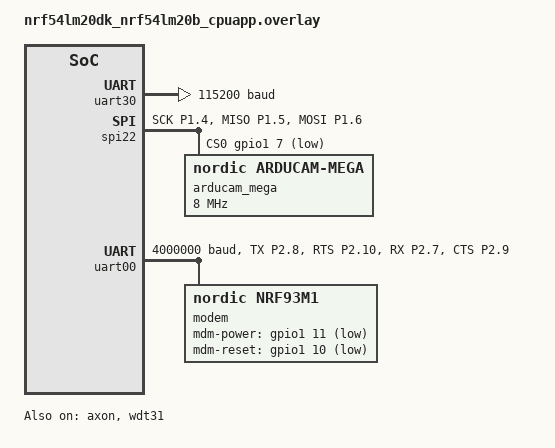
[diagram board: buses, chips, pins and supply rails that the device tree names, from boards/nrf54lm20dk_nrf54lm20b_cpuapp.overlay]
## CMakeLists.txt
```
#
# Copyright (c) 2026 Nordic Semiconductor ASA
#
# SPDX-License-Identifier: LicenseRef-Nordic-5-Clause
#

cmake_minimum_required(VERSION 3.20.0)

find_package(Zephyr REQUIRED HINTS $ENV{ZEPHYR_BASE})
project("Person detection video stream")

set(SMHA_LIB_DIR ${CMAKE_CURRENT_SOURCE_DIR}/../../lib)

zephyr_include_directories(
	${SMHA_LIB_DIR}/include
	${CMAKE_CURRENT_SOURCE_DIR}/src
)

target_sources(app PRIVATE
	src/main.c
	src/modules/network/network.c
)
target_sources_ifdef(CONFIG_SHELL app PRIVATE src/modules/network/network_shell.c)
target_sources_ifdef(CONFIG_APP_NETWORK app PRIVATE src/modules/network/modem_baudrate.c)
target_sources_ifdef(CONFIG_APP_MODEM_AT app PRIVATE src/modules/modem_at/modem_at.c)
target_sources_ifdef(CONFIG_APP_MODEM_AT_SHELL app PRIVATE src/modules/modem_at/modem_at_shell.c)
target_sources_ifdef(CONFIG_APP_STREAM app PRIVATE src/modules/stream/stream.c)
target_sources_ifdef(CONFIG_APP_STREAM_SHELL app PRIVATE src/modules/stream/stream_shell.c)
target_sources_ifdef(CONFIG_APP_CAMERA app PRIVATE src/modules/camera/camera.c)
# Arducam Mega driver from the sdk-edge-ai person_detection application, with a JPEG quality
# control added; video_ctrls.h is private to Zephyr's video drivers.
if(CONFIG_APP_CAMERA)
	target_sources(app PRIVATE src/drivers/arducam_mega.c)
	target_include_directories(app PRIVATE ${ZEPHYR_BASE}/drivers/video)
endif()
target_sources_ifdef(CONFIG_APP_CAMERA_SHELL app PRIVATE src/modules/camera/camera_shell.c)
target_sources_ifdef(CONFIG_APP_DETECTION app PRIVATE src/modules/detection/detection.c)
target_sources_ifdef(CONFIG_APP_DETECTION_SHELL app PRIVATE src/modules/detection/detection_shell.c)

target_sources_ifdef(CONFIG_APP_FRAME_POOL app PRIVATE src/lib/frame_pool/frame_pool.c)

# Model and postprocessing come from the sdk-edge-ai person_detection application.
# Decoder speed bounds the detection rate, so JPEGDEC (built into jpeg.c) is built for speed.
if(CONFIG_APP_DETECTOR)
	set(PERSON_DET_DIR ${ZEPHYR_EDGE_AI_MODULE_DIR}/applications/person_detection/src)
	target_sources(app PRIVATE
		src/lib/detector/detector.c
		src/lib/jpeg/jpeg.c
		${PERSON_DET_DIR}/postprocessing.c
	)
	target_include_directories(app PRIVATE ${PERSON_DET_DIR}
		${CMAKE_CURRENT_SOURCE_DIR}/lib/jpegdec)
	set_source_files_properties(src/lib/jpeg/jpeg.c PROPERTIES
		COMPILE_OPTIONS "-O2;-Wno-unused-function;-Wno-unused-variable;-Wno-unused-but-set-variable;-Wno-pointer-to-int-cast")
endif()
```

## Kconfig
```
#
# Copyright (c) 2026 Nordic Semiconductor ASA
#
# SPDX-License-Identifier: LicenseRef-Nordic-5-Clause
#

menu "Person detection video stream"

rsource "src/Kconfig.main"
rsource "src/modules/network/Kconfig.network"
rsource "src/modules/modem_at/Kconfig.modem_at"
rsource "src/modules/stream/Kconfig.stream"
rsource "src/modules/camera/Kconfig.camera"
rsource "src/modules/detection/Kconfig.detection"
rsource "src/lib/frame_pool/Kconfig.frame_pool"
rsource "src/lib/detector/Kconfig.detector"

endmenu

menu "Zephyr Kernel"
source "Kconfig.zephyr"
endmenu
```

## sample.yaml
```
sample:
  name: Person detection video stream
  description: Camera video with person detection, streamed over UDP on Wi-Fi or on LTE through an nRF93M1.
common:
  build_only: true
  tags:
    - ci_build
tests:
  serial_modem_host.applications.person_detection_stream.wifi:
    integration_platforms:
      - nrf7120dk/nrf7120e/cpuapp
    platform_allow:
      - nrf7120dk/nrf7120e/cpuapp
  serial_modem_host.applications.person_detection_stream.lte.nrf7120dk:
    extra_args:
      - EXTRA_CONF_FILE=overlay-lte-nrf7120dk.conf
      - EXTRA_DTC_OVERLAY_FILE=overlay-lte-nrf7120dk.overlay
    integration_platforms:
      - nrf7120dk/nrf7120e/cpuapp
    platform_allow:
      - nrf7120dk/nrf7120e/cpuapp
  serial_modem_host.applications.person_detection_stream.nrf54lm20dk:
    integration_platforms:
      - nrf54lm20dk/nrf54lm20b/cpuapp
    platform_allow:
      - nrf54lm20dk/nrf54lm20b/cpuapp
```

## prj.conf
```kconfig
#
# Copyright (c) 2026 Nordic Semiconductor ASA
#
# SPDX-License-Identifier: LicenseRef-Nordic-5-Clause
#

# Application identity
CONFIG_NCS_APPLICATION_BOOT_BANNER_STRING="Person detection video stream"

# Application modules; LTE over the nRF93M1 comes from the LM20 board files or
# overlay-lte-nrf7120dk.conf
CONFIG_APP_NETWORK=y
CONFIG_APP_STREAM=y

# System / RTOS
CONFIG_NCS_SAMPLES_DEFAULTS=y
CONFIG_RESET_ON_FATAL_ERROR=n
CONFIG_MAIN_STACK_SIZE=4096
CONFIG_SYSTEM_WORKQUEUE_STACK_SIZE=4096
CONFIG_ZBUS=y
CONFIG_ZBUS_MSG_SUBSCRIBER=y
CONFIG_ZBUS_MSG_SUBSCRIBER_NET_BUF_POOL_SIZE=32
# Name channels and observers so a delivery failure says which ones were involved.
CONFIG_ZBUS_CHANNEL_NAME=y
CONFIG_ZBUS_OBSERVER_NAME=y
CONFIG_SMF=y
CONFIG_SMF_ANCESTOR_SUPPORT=y
CONFIG_SMF_INITIAL_TRANSITION=y
CONFIG_HEAP_MEM_POOL_SIZE=8192

# Watchdog
CONFIG_TASK_WDT=y
CONFIG_WATCHDOG=y
CONFIG_TASK_WDT_MIN_TIMEOUT=10000
# One channel per module thread: main, network, stream and the two camera threads, plus headroom.
CONFIG_TASK_WDT_CHANNELS=8

# Logging
CONFIG_LOG=y
CONFIG_LOG_MODE_DEFERRED=y
CONFIG_LOG_BUFFER_SIZE=4096

# Settings: the stream endpoint survives reboots
CONFIG_FLASH=y
CONFIG_FLASH_MAP=y
CONFIG_NVS=y
CONFIG_SETTINGS=y
CONFIG_SETTINGS_NVS=y

# Shell
CONFIG_SHELL=y
CONFIG_SHELL_STACK_SIZE=4096
CONFIG_SHELL_WILDCARD=n

# Networking: IPv4/UDP sockets for the video stream
CONFIG_NETWORKING=y
CONFIG_NET_NATIVE=y
CONFIG_NET_IPV4=y
CONFIG_NET_IPV6=n
CONFIG_NET_UDP=y
CONFIG_NET_TCP=n
CONFIG_NET_SOCKETS=y
# The DNS resolver holds one context per server (static + network-provided) for its lifetime.
CONFIG_NET_MAX_CONN=10
CONFIG_NET_MAX_CONTEXTS=10
CONFIG_ZVFS_POLL_MAX=12
CONFIG_NET_MGMT=y
CONFIG_NET_MGMT_EVENT=y
CONFIG_NET_CONNECTION_MANAGER=y
CONFIG_NET_CONNECTION_MANAGER_MONITOR_STACK_SIZE=512
CONFIG_NET_MGMT_EVENT_STACK_SIZE=800
CONFIG_NET_SHELL=y

# Network buffers: room for several MTU-sized datagrams queued towards the link
CONFIG_NET_PKT_RX_COUNT=8
CONFIG_NET_PKT_TX_COUNT=16
CONFIG_NET_BUF_RX_COUNT=16
CONFIG_NET_BUF_TX_COUNT=48

# DNS
CONFIG_DNS_RESOLVER=y
CONFIG_NET_SOCKETS_DNS_TIMEOUT=10000
CONFIG_DNS_RESOLVER_MAX_SERVERS=4
CONFIG_DNS_SERVER_IP_ADDRESSES=y
CONFIG_DNS_SERVER1="8.8.8.8"
CONFIG_DNS_SERVER2="1.1.1.1"

# Board peripherals
CONFIG_GPIO=y

# Power management
CONFIG_PM_DEVICE=y
CONFIG_PM_DEVICE_RUNTIME=y
CONFIG_PM_DEVICE_RUNTIME_USE_DEDICATED_WQ=y
```

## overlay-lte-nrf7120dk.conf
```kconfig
#
# Copyright (c) 2026 Nordic Semiconductor ASA
#
# SPDX-License-Identifier: LicenseRef-Nordic-5-Clause
#

# LTE over an nRF93M1 in modem bypass, through CMUX and PPP, next to Wi-Fi. Use with
# overlay-lte-nrf7120dk.overlay.

CONFIG_APP_MODEM_AT=y
CONFIG_APP_MODEM_AT_LOG_LEVEL_ERR=y

CONFIG_NET_L2_PPP=y
CONFIG_NET_L2_PPP_OPTION_DNS_USE=y

# Cellular modem driver
CONFIG_MODEM=y
CONFIG_MODEM_CELLULAR=y
CONFIG_MODEM_DEDICATED_WORKQUEUE=y
CONFIG_MODEM_CMUX_MTU=127
CONFIG_MODEM_CMUX_WORK_BUFFER_SIZE_EXTRA=532
CONFIG_MODEM_CELLULAR_UART_BUFFER_SIZES=1024
CONFIG_MODEM_AT_SHELL=n
CONFIG_MODEM_AT_USER_PIPE_IDX=0
CONFIG_MODEM_CELLULAR_USER_PIPE_BUFFER_SIZES=1024
CONFIG_MODEM_MODULES_LOG_LEVEL_INF=y
CONFIG_MODEM_CMUX_LOG_LEVEL_INF=y

# Async UART with hardware flow control towards the modem
CONFIG_UART_ASYNC_API=y
CONFIG_MODEM_BACKEND_UART_ASYNC_HWFC=y
CONFIG_MODEM_BACKEND_UART_ASYNC_RECEIVE_IDLE_TIMEOUT_MS=1
CONFIG_MODEM_CMUX_MSC_FC_THRESHOLD=32

# UARTE00 at 3 Mbaud

CONFIG_UART_00_ASYNC=y
CONFIG_UART_00_INTERRUPT_DRIVEN=n
CONFIG_APP_NETWORK_MODEM_BAUDRATE=3000000
```

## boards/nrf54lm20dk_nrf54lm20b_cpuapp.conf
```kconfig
#
# Copyright (c) 2026 Nordic Semiconductor ASA
#
# SPDX-License-Identifier: LicenseRef-Nordic-5-Clause
#

# Interrupt-driven UART for the shell on uart30
CONFIG_UART_INTERRUPT_DRIVEN=y
CONFIG_UART_30_INTERRUPT_DRIVEN=y

# Person detection on the Axon NPU
CONFIG_NRF_AXON=y
CONFIG_NRF_AXON_INTERLAYER_BUFFER_SIZE=229376
CONFIG_FPU=y

# Fixed-size net bufs; room for several MTU-sized datagrams queued towards the link
CONFIG_NET_BUF_DATA_SIZE=256

# LTE over an nRF93M1 in modem bypass, through CMUX and PPP, on UARTE00 at 3 Mbaud
CONFIG_APP_MODEM_AT=y
CONFIG_APP_MODEM_AT_LOG_LEVEL_ERR=y

CONFIG_NET_L2_PPP=y
CONFIG_NET_L2_PPP_OPTION_DNS_USE=y

# Cellular modem driver
CONFIG_MODEM=y
CONFIG_MODEM_CELLULAR=y
CONFIG_MODEM_DEDICATED_WORKQUEUE=y
CONFIG_MODEM_CMUX_MTU=127
CONFIG_MODEM_CMUX_WORK_BUFFER_SIZE_EXTRA=532
CONFIG_MODEM_CELLULAR_UART_BUFFER_SIZES=1024
CONFIG_MODEM_AT_SHELL=n
CONFIG_MODEM_AT_USER_PIPE_IDX=0
CONFIG_MODEM_CELLULAR_USER_PIPE_BUFFER_SIZES=1024
CONFIG_MODEM_MODULES_LOG_LEVEL_INF=y
CONFIG_MODEM_CMUX_LOG_LEVEL_INF=y

# Async UART with hardware flow control towards the modem
CONFIG_UART_ASYNC_API=y
CONFIG_MODEM_BACKEND_UART_ASYNC_HWFC=y
CONFIG_MODEM_BACKEND_UART_ASYNC_RECEIVE_IDLE_TIMEOUT_MS=1
CONFIG_MODEM_CMUX_MSC_FC_THRESHOLD=32

CONFIG_UART_00_ASYNC=y
CONFIG_UART_00_INTERRUPT_DRIVEN=n
CONFIG_APP_NETWORK_MODEM_BAUDRATE=3000000
```

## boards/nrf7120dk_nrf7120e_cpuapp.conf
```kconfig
#
# Copyright (c) 2026 Nordic Semiconductor ASA
#
# SPDX-License-Identifier: LicenseRef-Nordic-5-Clause
#

# Interrupt-driven UART for the shell on uart20
CONFIG_UART_INTERRUPT_DRIVEN=y
CONFIG_UART_20_INTERRUPT_DRIVEN=y

# Person detection on the Axon NPU
CONFIG_NRF_AXON=y
CONFIG_NRF_AXON_INTERLAYER_BUFFER_SIZE=229376
CONFIG_NRF_AXON_INTERLAYER_BUFFER_MEMREGION_NAME="AXON_SRAM"
CONFIG_FPU=y

# Wi-Fi station; overlay-lte-nrf7120dk adds the PPP link next to it, either one streams alone.
CONFIG_WIFI=y
CONFIG_WIFI_NRF71_PATCH=y
CONFIG_WIFI_NM_WPA_SUPPLICANT=y
CONFIG_NET_L2_ETHERNET=y
CONFIG_NET_DHCPV4=y
CONFIG_NET_L2_WIFI_SHELL=y
CONFIG_SHELL_GETOPT=y
CONFIG_ENTROPY_GENERATOR=y

# Connect on boot to networks stored with "wifi cred add"
CONFIG_WIFI_CREDENTIALS=y
CONFIG_L2_WIFI_CONNECTIVITY=y
CONFIG_L2_WIFI_CONNECTIVITY_AUTO_CONNECT=y
CONFIG_L2_WIFI_CONNECTIVITY_AUTO_DOWN=n

# The supplicant runs in these threads' event callbacks.
CONFIG_NET_MGMT_EVENT_STACK_SIZE=4200
CONFIG_NET_MGMT_EVENT_QUEUE_SIZE=16
CONFIG_NET_CONNECTION_MANAGER_MONITOR_STACK_SIZE=4096
CONFIG_SHELL_STACK_SIZE=5400
# Wi-Fi disconnect runs the supplicant in the calling network thread.
CONFIG_APP_NETWORK_THREAD_STACK_SIZE=6144

# Wi-Fi needs variable-size net bufs; same TX room as the fixed pool on the LM20
CONFIG_NET_PKT_BUF_TX_DATA_POOL_SIZE=16384
CONFIG_NET_PKT_BUF_RX_DATA_POOL_SIZE=8192

# One IPv4 config per interface: Wi-Fi and PPP
CONFIG_NET_IF_MAX_IPV4_COUNT=2

# High camera profile for Wi-Fi; LTE keeps the 320x240 default
CONFIG_APP_CAMERA_HIGH_WIDTH=640
CONFIG_APP_CAMERA_HIGH_HEIGHT=480
CONFIG_APP_CAMERA_HIGH_JPEG_QUALITY=2
CONFIG_APP_CAMERA_BUFFER_SIZE=49152
CONFIG_VIDEO_BUFFER_POOL_HEAP_SIZE=148480
CONFIG_APP_DETECTION_SLOT_SIZE=49152
```

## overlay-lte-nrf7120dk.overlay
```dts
/*
 * Copyright (c) 2026 Nordic Semiconductor ASA
 *
 * SPDX-License-Identifier: LicenseRef-Nordic-5-Clause
 *
 * nRF7120 DK driving an nRF93M1 DK in modem bypass mode over UARTE00 at 3 Mbaud, next
 * to Wi-Fi. Build with
 *   -DEXTRA_CONF_FILE=overlay-lte-nrf7120dk.conf
 *   -DEXTRA_DTC_OVERLAY_FILE=overlay-lte-nrf7120dk.overlay
 * and set the modem first with AT+IPR=3000000, which it keeps in NVM. The DK runs at
 * 1.8 V like the modem, so the lines connect directly.
 *
 * UARTE00 runs from the 256 MHz HFPLL and only reaches dedicated pins on P2. The DK
 * shares P2.06-P2.11 with its external memory; route them to the P2 header in Board
 * Configurator.
 *
 *   93M1 DK          7120 DK
 *   TX         ->    P2.10  UARTE00 RX
 *   RX         <-    P2.07  UARTE00 TX
 *   RTS        ->    P2.08  UARTE00 CTS
 *   CTS        <-    P2.11  UARTE00 RTS
 *   PKEY       <-    P0.10  (P0.05 is the DK's RF switch control)
 *   RST        <-    P0.06
 */

/* UARTE00 shares its instance with SPIM00, which drives the DK's external flash (unused). */
&spi00 {
	status = "disabled";
};

/ {
	aliases {
		modem = &modem;
	};
};

&pinctrl {
	uart00_modem_default: uart00_modem_default {
		group1 {
			psels = <NRF_PSEL(UART_TX, 2, 7)>,
				<NRF_PSEL(UART_RTS, 2, 11)>;
		};

		group2 {
			psels = <NRF_PSEL(UART_RX, 2, 10)>,
				<NRF_PSEL(UART_CTS, 2, 8)>;
			bias-pull-up;
		};
	};

	uart00_modem_sleep: uart00_modem_sleep {
		group1 {
			psels = <NRF_PSEL(UART_TX, 2, 7)>,
				<NRF_PSEL(UART_RX, 2, 10)>,
				<NRF_PSEL(UART_RTS, 2, 11)>,
				<NRF_PSEL(UART_CTS, 2, 8)>;
			low-power-enable;
		};
	};
};

/* The binding has no 3000000; CONFIG_APP_NETWORK_MODEM_BAUDRATE sets it at boot. */
&uart00 {
	status = "okay";
	current-speed = <4000000>;
	pinctrl-0 = <&uart00_modem_default>;
	pinctrl-1 = <&uart00_modem_sleep>;
	pinctrl-names = "default", "sleep";
	hw-flow-control;
	zephyr,pm-device-runtime-auto;

	modem: modem {
		compatible = "nordic,nrf93m1";
		status = "okay";
		mdm-power-gpios = <&gpio0 10 GPIO_ACTIVE_LOW>;
		mdm-reset-gpios = <&gpio0 6 GPIO_ACTIVE_LOW>;
		zephyr,pm-device-runtime-auto;
	};
};
```

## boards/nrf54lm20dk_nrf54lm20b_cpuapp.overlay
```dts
/*
 * Copyright (c) 2026 Nordic Semiconductor ASA
 *
 * SPDX-License-Identifier: LicenseRef-Nordic-5-Clause
 *
 * nRF54LM20 DK driving an nRF93M1 DK in modem bypass mode over UARTE00 at 3 Mbaud,
 * with an Arducam Mega on SPI22 (SCK P1.04, MISO P1.05, MOSI P1.06, CS P1.07).
 * Console and shell stay on VCOM0.
 *
 * Set the modem to AT+IPR=3000000 first; it keeps the rate in NVM. Flash the 93M1 DK
 * with modem bypass and disable its VCOM1 in Board Configurator, so nothing else drives
 * the modem UART. The DK's IO runs at 1.8 V to match the modem; the camera needs
 * 3.3 V and goes through a level shifter.
 *
 * UARTE00 runs from the 128 MHz HFPLL; UARTE21 tops out at 1 Mbaud. Its signals only
 * reach dedicated pins: RXD P2.00/P2.07, TXD P2.02/P2.08, CTS P2.04/P2.09,
 * RTS P2.05/P2.10. P2.00-P2.05 belong to the DK's flash.
 *
 *   93M1 DK          54LM20 DK
 *   TX         ->    P2.07  UARTE00 RX
 *   RX         <-    P2.08  UARTE00 TX
 *   RTS        ->    P2.09  UARTE00 CTS
 *   CTS        <-    P2.10  UARTE00 RTS
 *   PKEY       <-    P1.11
 *   RST        <-    P1.10
 *   GND        --    GND
 */

/ {
	chosen {
		zephyr,console = &uart30;
		zephyr,shell-uart = &uart30;
	};
};

&uart30 {
	status = "okay";
	current-speed = <115200>;
};

&pinctrl {
	spi22_default: spi22_default {
		group1 {
			psels = <NRF_PSEL(SPIM_SCK, 1, 4)>,
				<NRF_PSEL(SPIM_MISO, 1, 5)>,
				<NRF_PSEL(SPIM_MOSI, 1, 6)>;
			bias-pull-down;
		};
	};

	spi22_sleep: spi22_sleep {
		group1 {
			psels = <NRF_PSEL(SPIM_SCK, 1, 4)>,
				<NRF_PSEL(SPIM_MISO, 1, 5)>,
				<NRF_PSEL(SPIM_MOSI, 1, 6)>;
			bias-pull-down;
			low-power-enable;
		};
	};

};

&gpio1 {
	status = "okay";
};

&spi22 {
	compatible = "nordic,nrf-spim";
	status = "okay";
	pinctrl-0 = <&spi22_default>;
	pinctrl-1 = <&spi22_sleep>;
	pinctrl-names = "default", "sleep";
	overrun-character = <0x00>;
	zephyr,pm-device-runtime-auto;
	cs-gpios = <&gpio1 7 GPIO_ACTIVE_LOW>;

	arducam_mega: arducam-mega@0 {
		compatible = "nordic,arducam-mega";
		reg = <0>;
		spi-max-frequency = <8000000>;
	};
};

/* Axon NPU for person detection; its buffers need the SRAM TF-M would take. */
&axon {
	status = "okay";
};

&wdt31 {
	status = "okay";
};

/* UARTE00 shares its instance with SPIM00, which drives the DK's external flash (unused). */
&spi00 {
	status = "disabled";
};

/ {
	aliases {
		modem = &modem;
	};
};

&pinctrl {
	uart00_modem_default: uart00_modem_default {
		group1 {
			psels = <NRF_PSEL(UART_TX, 2, 8)>,
				<NRF_PSEL(UART_RTS, 2, 10)>;
		};

		group2 {
			psels = <NRF_PSEL(UART_RX, 2, 7)>,
				<NRF_PSEL(UART_CTS, 2, 9)>;
			bias-pull-up;
		};
	};

	uart00_modem_sleep: uart00_modem_sleep {
		group1 {
			psels = <NRF_PSEL(UART_TX, 2, 8)>,
				<NRF_PSEL(UART_RX, 2, 7)>,
				<NRF_PSEL(UART_RTS, 2, 10)>,
				<NRF_PSEL(UART_CTS, 2, 9)>;
			low-power-enable;
		};
	};
};

/* The binding has no 3000000; CONFIG_APP_NETWORK_MODEM_BAUDRATE sets it at boot. */
&uart00 {
	status = "okay";
	current-speed = <4000000>;
	pinctrl-0 = <&uart00_modem_default>;
	pinctrl-1 = <&uart00_modem_sleep>;
	pinctrl-names = "default", "sleep";
	hw-flow-control;
	zephyr,pm-device-runtime-auto;

	modem: modem {
		compatible = "nordic,nrf93m1";
		status = "okay";
		/* The module's own active-low pins, driven through a one-way level shifter. */
		mdm-power-gpios = <&gpio1 11 GPIO_ACTIVE_LOW>;
		mdm-reset-gpios = <&gpio1 10 GPIO_ACTIVE_LOW>;
		zephyr,pm-device-runtime-auto;
	};
};
```

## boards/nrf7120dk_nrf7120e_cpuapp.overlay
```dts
/*
 * Copyright (c) 2026 Nordic Semiconductor ASA
 *
 * SPDX-License-Identifier: LicenseRef-Nordic-5-Clause
 *
 * nRF7120 DK (nRF7120E) streaming over Wi-Fi, with an Arducam Mega on SPIM24 through
 * level shifters (the DK runs at 1.8 V, the camera at 3.3 V). The nRF93M1 modem comes
 * from overlay-lte-nrf7120dk.overlay.
 *
 *   Arducam Mega     7120 DK
 *   SCK        <-    P1.12  SPIM24
 *   MISO       ->    P1.13
 *   MOSI       <-    P1.14
 *   CS         <-    P1.15
 *
 * Console and shell stay on VCOM0 (UARTE20).
 */

/* Wi-Fi ROM patch matching CONFIG_WIFI_NRF71_PATCH_VERSION_0_1_0 */
#include "../../../../nrfxlib/nrf71_wifi/bins/0.1.0/nrf7120_wifi_patch.dtsi"

/ {
	chosen {
		zephyr,entropy = &psa_rng;
	};

	psa_rng: psa-rng {
		compatible = "zephyr,psa-crypto-rng";
		status = "okay";
	};
};

&pinctrl {
	spi24_default: spi24_default {
		group1 {
			psels = <NRF_PSEL(SPIM_SCK, 1, 12)>,
				<NRF_PSEL(SPIM_MISO, 1, 13)>,
				<NRF_PSEL(SPIM_MOSI, 1, 14)>;
			bias-pull-down;
		};
	};

	spi24_sleep: spi24_sleep {
		group1 {
			psels = <NRF_PSEL(SPIM_SCK, 1, 12)>,
				<NRF_PSEL(SPIM_MISO, 1, 13)>,
				<NRF_PSEL(SPIM_MOSI, 1, 14)>;
			bias-pull-down;
			low-power-enable;
		};
	};
};

&spi24 {
	compatible = "nordic,nrf-spim";
	status = "okay";
	pinctrl-0 = <&spi24_default>;
	pinctrl-1 = <&spi24_sleep>;
	pinctrl-names = "default", "sleep";
	overrun-character = <0x00>;
	zephyr,pm-device-runtime-auto;
	cs-gpios = <&gpio1 15 GPIO_ACTIVE_LOW>;

	arducam_mega: arducam-mega@0 {
		compatible = "nordic,arducam-mega";
		reg = <0>;
		spi-max-frequency = <8000000>;
	};
};

/*
 * The Wi-Fi core's IPC buffers sit at 0x200c0000-0x200c5000 inside cpuapp_sram, which
 * the board does not keep out of the image; past 768 KiB the main stack landed there.
 * Link below them and give the SRAM above them to the Axon interlayer buffer
 * (CONFIG_NRF_AXON_INTERLAYER_BUFFER_MEMREGION_NAME).
 */
/ {
	chosen {
		zephyr,sram = &app_sram;
	};
};

&cpuapp_sram {
	app_sram: sram@0 {
		compatible = "mmio-sram";
		reg = <0x0 DT_SIZE_K(768)>;
	};

	axon_sram: sram@c5000 {
		compatible = "zephyr,memory-region", "mmio-sram";
		reg = <0xc5000 0x38fe0>;
		zephyr,memory-region = "AXON_SRAM";
	};
};

&axon {
	status = "okay";
};

&wdt31 {
	status = "okay";
};
```

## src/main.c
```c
/*
 * Copyright (c) 2026 Nordic Semiconductor ASA
 *
 * SPDX-License-Identifier: LicenseRef-Nordic-5-Clause
 */

#include <zephyr/kernel.h>
#include <zephyr/logging/log.h>
#include <zephyr/smf.h>
#include <zephyr/task_wdt/task_wdt.h>
#include <zephyr/zbus/zbus.h>

#include "app_common.h"
#include "modules/network/network.h"
#include "modules/stream/stream.h"
#if defined(CONFIG_APP_CAMERA)
#include "modules/camera/camera.h"
#endif

LOG_MODULE_REGISTER(main, CONFIG_APP_MAIN_LOG_LEVEL);

BUILD_ASSERT(CONFIG_APP_MAIN_WATCHDOG_TIMEOUT_SECONDS >
	     CONFIG_APP_MAIN_MSG_PROCESSING_TIMEOUT_SECONDS,
	     "Watchdog timeout must be greater than maximum message processing time");

/* Published by the switch timer; the id drops a timeout from an earlier switch. */
struct switch_timeout_msg {
	uint32_t id;
};

ZBUS_CHAN_DEFINE(switch_timeout_chan,
		 struct switch_timeout_msg,
		 NULL,
		 NULL,
		 ZBUS_OBSERVERS_EMPTY,
		 ZBUS_MSG_INIT(0));

ZBUS_MSG_SUBSCRIBER_DEFINE(main_subscriber);

#define CHANNEL_LIST(X) \
	X(network_chan, struct network_msg) \
	X(switch_timeout_chan, struct switch_timeout_msg)

#define MAX_MSG_SIZE MAX_MSG_SIZE_FROM_LIST(CHANNEL_LIST)

#define ADD_OBSERVERS(_chan, _type) ZBUS_CHAN_ADD_OBS(_chan, main_subscriber, 0);

CHANNEL_LIST(ADD_OBSERVERS)

enum main_app_state {
	/** Handles interface choice requests and status in every child state. */
	STATE_RUNNING,
	/** No usable interface. The stream is told to close its socket. */
	STATE_OFFLINE,
	/** The stream runs over @ref main_state.active. */
	STATE_ONLINE,
	/** Waiting for @ref main_state.target; the stream stays on the current interface. */
	STATE_SWITCHING,
};

struct main_state {
	struct smf_ctx ctx;
	const struct zbus_channel *chan;
	uint8_t msg_buf[MAX_MSG_SIZE];

	/** Requested interface; NETWORK_IFACE_NONE chooses automatically. */
	enum network_iface mode;
	/** Mode to fall back to when a switch times out. */
	enum network_iface prev_mode;
	/** BIT(enum network_iface) per interface that is up. */
	uint32_t up;
	/** Interface carrying the stream, or NETWORK_IFACE_NONE. */
	enum network_iface active;
	/** STATE_SWITCHING only: the interface being brought up. */
	enum network_iface target;
	uint32_t switch_id;
};

static struct main_state main_state;

static void switch_timeout_work_fn(struct k_work *work);
static K_WORK_DELAYABLE_DEFINE(switch_timeout_work, switch_timeout_work_fn);

static enum smf_state_result state_running_run(void *obj);
static void state_offline_entry(void *obj);
static enum smf_state_result state_offline_run(void *obj);
static void state_online_entry(void *obj);
static enum smf_state_result state_online_run(void *obj);
static void state_switching_entry(void *obj);
static enum smf_state_result state_switching_run(void *obj);
static void state_switching_exit(void *obj);

static const struct smf_state states[] = {
	[STATE_RUNNING] = SMF_CREATE_STATE(NULL, state_running_run, NULL, NULL,
					   &states[STATE_OFFLINE]),
	[STATE_OFFLINE] = SMF_CREATE_STATE(state_offline_entry, state_offline_run, NULL,
					   &states[STATE_RUNNING], NULL),
	[STATE_ONLINE] = SMF_CREATE_STATE(state_online_entry, state_online_run, NULL,
					  &states[STATE_RUNNING], NULL),
	[STATE_SWITCHING] = SMF_CREATE_STATE(state_switching_entry, state_switching_run,
					     state_switching_exit, &states[STATE_RUNNING], NULL),
};

static void switch_timeout_work_fn(struct k_work *work)
{
	struct switch_timeout_msg msg = { .id = main_state.switch_id };

	ARG_UNUSED(work);

	(void)zbus_chan_pub(&switch_timeout_chan, &msg, PUB_TIMEOUT);
}

static void stream_request(enum stream_msg_type type, enum network_iface iface)
{
	struct stream_msg msg = { .type = type };
	struct net_if *net_if = network_iface_get(iface);
	int err;

	if (net_if != NULL) {
		msg.iface = net_if_get_by_iface(net_if);
	}

	err = zbus_chan_pub(&stream_chan, &msg, PUB_TIMEOUT);
	if (err) {
		LOG_ERR("zbus_chan_pub stream_chan, error: %d", err);
		FATAL_ERROR();
	}
}

/* Wi-Fi has room for larger frames than the LTE-M uplink. */
static void camera_hint(enum network_iface iface)
{
#if defined(CONFIG_APP_CAMERA)
	struct camera_msg msg = {
		.type = CAMERA_PROFILE_HINT,
		.profile = iface == NETWORK_IFACE_WIFI ? CAMERA_PROFILE_HIGH : CAMERA_PROFILE_LOW,
	};
	int err;

	err = zbus_chan_pub(&camera_chan, &msg, PUB_TIMEOUT);
	if (err) {
		LOG_ERR("zbus_chan_pub camera_chan, error: %d", err);
		FATAL_ERROR();
	}
#else
	ARG_UNUSED(iface);
#endif
}

static void network_request(enum network_msg_type type, enum network_iface iface)
{
	struct network_msg msg = { .type = type, .iface = iface };
	int err;

	err = zbus_chan_pub(&network_chan, &msg, PUB_TIMEOUT);
	if (err) {
		LOG_ERR("zbus_chan_pub network_chan, error: %d", err);
		FATAL_ERROR();
	}
}

static bool is_up(const struct main_state *s, enum network_iface iface)
{
	return (s->up & BIT(iface)) != 0;
}

static enum network_iface other_iface(enum network_iface iface)
{
	return iface == NETWORK_IFACE_WIFI ? NETWORK_IFACE_LTE : NETWORK_IFACE_WIFI;
}

/* An interface the mode allows that is up, Wi-Fi first. */
static enum network_iface choose(const struct main_state *s)
{
	if (s->mode != NETWORK_IFACE_NONE) {
		return is_up(s, s->mode) ? s->mode : NETWORK_IFACE_NONE;
	}

	if (is_up(s, NETWORK_IFACE_WIFI)) {
		return NETWORK_IFACE_WIFI;
	}

	return is_up(s, NETWORK_IFACE_LTE) ? NETWORK_IFACE_LTE : NETWORK_IFACE_NONE;
}

static const struct network_msg *network_msg_get(const struct main_state *s)
{
	return s->chan == &network_chan ? (const struct network_msg *)s->msg_buf : NULL;
}

static void go_online(struct main_state *s, enum network_iface iface)
{
	s->active = iface;
	smf_set_state(SMF_CTX(s), &states[STATE_ONLINE]);
}

static void online_apply(struct main_state *s)
{
	LOG_INF("Streaming over %s", network_iface_name(s->active));
	camera_hint(s->active);
	stream_request(STREAM_CONNECT, s->active);

	/* Auto mode keeps Wi-Fi trying while on LTE, but cellular goes down under Wi-Fi. */
	if ((s->mode != NETWORK_IFACE_NONE || s->active == NETWORK_IFACE_WIFI) &&
	    network_iface_get(other_iface(s->active)) != NULL) {
		network_request(NETWORK_IFACE_DISCONNECT, other_iface(s->active));
	}
}

static void status_log(const struct main_state *s)
{
	LOG_INF("Mode %s, streaming over %s; wifi %s, lte %s",
		s->mode == NETWORK_IFACE_NONE ? "auto" : network_iface_name(s->mode),
		network_iface_name(s->active),
		is_up(s, NETWORK_IFACE_WIFI) ? "up" : "down",
		is_up(s, NETWORK_IFACE_LTE) ? "up" : "down");
}

static void use_request(struct main_state *s, enum network_iface target)
{
	if (target != NETWORK_IFACE_NONE && network_iface_get(target) == NULL) {
		LOG_WRN("No %s interface on this board", network_iface_name(target));
		return;
	}

	s->prev_mode = s->mode;
	s->mode = target;

	if (target == NETWORK_IFACE_NONE) {
		LOG_INF("Choosing the interface automatically");

		/* Reconnecting Wi-Fi drops its association, so only connect what is down. */
		for (enum network_iface i = NETWORK_IFACE_WIFI; i < NETWORK_IFACE_COUNT; i++) {
			if (network_iface_get(i) != NULL && !is_up(s, i)) {
				network_request(NETWORK_IFACE_CONNECT, i);
			}
		}

		if (choose(s) != NETWORK_IFACE_NONE && choose(s) != s->active) {
			go_online(s, choose(s));
		}
		return;
	}

	if (is_up(s, target)) {
		go_online(s, target);
	} else if (s->active == NETWORK_IFACE_NONE) {
		smf_set_state(SMF_CTX(s), &states[STATE_OFFLINE]);
	} else {
		s->target = target;
		smf_set_state(SMF_CTX(s), &states[STATE_SWITCHING]);
	}
}

static enum smf_state_result state_running_run(void *obj)
{
	struct main_state *s = obj;
	const struct network_msg *msg = network_msg_get(s);

	if (msg == NULL) {
		return SMF_EVENT_HANDLED;
	}

	switch (msg->type) {
	case NETWORK_USE:
		use_request(s, msg->iface);
		break;
	case NETWORK_STATUS:
		status_log(s);
		break;
	default:
		break;
	}

	return SMF_EVENT_HANDLED;
}

static void state_offline_entry(void *obj)
{
	struct main_state *s = obj;

	LOG_INF("Network disconnected");

	s->active = NETWORK_IFACE_NONE;
	stream_request(STREAM_DISCONNECT, NETWORK_IFACE_NONE);

	/* In auto mode LTE may have been taken down under Wi-Fi; it is the fallback now. */
	const enum network_iface fallback =
		s->mode == NETWORK_IFACE_NONE ? NETWORK_IFACE_LTE : s->mode;

	if (network_iface_get(fallback) != NULL) {
		network_request(NETWORK_IFACE_CONNECT, fallback);
	}
}

static enum smf_state_result state_offline_run(void *obj)
{
	struct main_state *s = obj;
	const struct network_msg *msg = network_msg_get(s);

	if (msg != NULL && msg->type == NETWORK_IFACE_UP && choose(s) != NETWORK_IFACE_NONE) {
		go_online(s, choose(s));
		return SMF_EVENT_HANDLED;
	}

	return SMF_EVENT_PROPAGATE;
}

static void state_online_entry(void *obj)
{
	LOG_INF("Network connected");

	online_apply(obj);
}

static enum smf_state_result state_online_run(void *obj)
{
	struct main_state *s = obj;
	const struct network_msg *msg = network_msg_get(s);

	if (msg == NULL) {
		return SMF_EVENT_PROPAGATE;
	}

	if (msg->type == NETWORK_IFACE_DOWN && msg->iface == s->active) {
		if (choose(s) != NETWORK_IFACE_NONE) {
			s->active = choose(s);
			online_apply(s);
		} else {
			smf_set_state(SMF_CTX(s), &states[STATE_OFFLINE]);
		}
		return SMF_EVENT_HANDLED;
	}

	if (msg->type == NETWORK_IFACE_UP && s->mode == NETWORK_IFACE_NONE &&
	    msg->iface == NETWORK_IFACE_WIFI && s->active != NETWORK_IFACE_WIFI) {
		s->active = NETWORK_IFACE_WIFI;
		online_apply(s);
		return SMF_EVENT_HANDLED;
	}

	return SMF_EVENT_PROPAGATE;
}

static void state_switching_entry(void *obj)
{
	struct main_state *s = obj;

	LOG_INF("Switching to %s, streaming over %s until it is up",
		network_iface_name(s->target), network_iface_name(s->active));

	s->switch_id++;
	network_request(NETWORK_IFACE_CONNECT, s->target);
	(void)k_work_reschedule(&switch_timeout_work,
				K_SECONDS(CONFIG_APP_MAIN_SWITCH_TIMEOUT_SECONDS));
}

static enum smf_state_result state_switching_run(void *obj)
{
	struct main_state *s = obj;
	const struct network_msg *msg = network_msg_get(s);

	if (s->chan == &switch_timeout_chan) {
		const struct switch_timeout_msg *timeout =
			(const struct switch_timeout_msg *)s->msg_buf;

		if (timeout->id != s->switch_id) {
			return SMF_EVENT_HANDLED;
		}

		LOG_WRN("%s did not come up within %d s, staying on %s",
			network_iface_name(s->target), CONFIG_APP_MAIN_SWITCH_TIMEOUT_SECONDS,
			network_iface_name(s->active));
		s->mode = s->prev_mode;

		if (s->active != NETWORK_IFACE_NONE) {
			go_online(s, s->active);
		} else {
			smf_set_state(SMF_CTX(s), &states[STATE_OFFLINE]);
		}
		return SMF_EVENT_HANDLED;
	}

	if (msg == NULL) {
		return SMF_EVENT_PROPAGATE;
	}

	if (msg->type == NETWORK_IFACE_UP && msg->iface == s->target) {
		go_online(s, s->target);
		return SMF_EVENT_HANDLED;
	}

	if (msg->type == NETWORK_IFACE_DOWN && msg->iface == s->active) {
		LOG_INF("%s went down while switching", network_iface_name(s->active));
		s->active = NETWORK_IFACE_NONE;
		stream_request(STREAM_DISCONNECT, NETWORK_IFACE_NONE);
		return SMF_EVENT_HANDLED;
	}

	return SMF_EVENT_PROPAGATE;
}

static void state_switching_exit(void *obj)
{
	ARG_UNUSED(obj);

	(void)k_work_cancel_delayable(&switch_timeout_work);
}

/* Kept outside the state machine so every state sees the same interface view. */
static void up_track(struct main_state *s)
{
	const struct network_msg *msg = network_msg_get(s);

	if (msg == NULL || msg->iface == NETWORK_IFACE_NONE) {
		return;
	}

	if (msg->type == NETWORK_IFACE_UP) {
		s->up |= BIT(msg->iface);
	} else if (msg->type == NETWORK_IFACE_DOWN) {
		s->up &= ~BIT(msg->iface);
	}
}

static void main_wdt_callback(int channel_id, void *user_data)
{
	LOG_ERR("Main watchdog expired, channel: %d, thread: %s",
		channel_id, k_thread_name_get((k_tid_t)user_data));

	FATAL_ERROR_WATCHDOG_TIMEOUT();
}

int main(void)
{
	int err;
	int task_wdt_id;
	const uint32_t wdt_timeout_ms = CONFIG_APP_MAIN_WATCHDOG_TIMEOUT_SECONDS * MSEC_PER_SEC;
	const uint32_t execution_time_ms =
		CONFIG_APP_MAIN_MSG_PROCESSING_TIMEOUT_SECONDS * MSEC_PER_SEC;
	const k_timeout_t zbus_wait = K_MSEC(wdt_timeout_ms - execution_time_ms);

	err = task_wdt_init(DEVICE_DT_GET(DT_ALIAS(watchdog0)));
	if (err) {
		LOG_ERR("task_wdt_init, error: %d", err);
		FATAL_ERROR();
		return -EFAULT;
	}

	task_wdt_id = task_wdt_add(wdt_timeout_ms, main_wdt_callback, (void *)k_current_get());
	if (task_wdt_id < 0) {
		LOG_ERR("task_wdt_add, error: %d", task_wdt_id);
		FATAL_ERROR();
		return -EFAULT;
	}

	smf_set_initial(SMF_CTX(&main_state), &states[STATE_RUNNING]);

	while (true) {
		err = task_wdt_feed(task_wdt_id);
		if (err) {
			LOG_ERR("task_wdt_feed, error: %d", err);
			FATAL_ERROR();
			return -EFAULT;
		}

		err = zbus_sub_wait_msg(&main_subscriber, &main_state.chan, main_state.msg_buf,
					zbus_wait);
		if (err == -ENOMSG) {
			continue;
		} else if (err) {
			LOG_ERR("zbus_sub_wait_msg, error: %d", err);
			FATAL_ERROR();
			return -EFAULT;
		}

		up_track(&main_state);

		err = smf_run_state(SMF_CTX(&main_state));
		if (err) {
			LOG_ERR("smf_run_state, error: %d", err);
			FATAL_ERROR();
			return -EFAULT;
		}
	}

	return 0;
}
```
